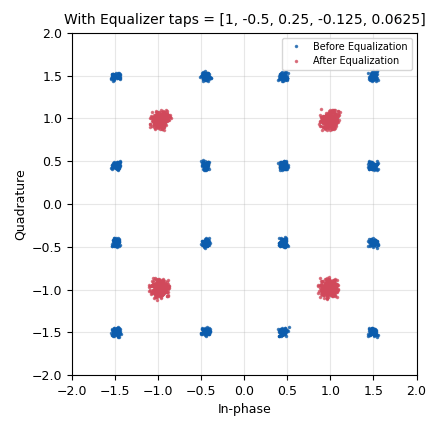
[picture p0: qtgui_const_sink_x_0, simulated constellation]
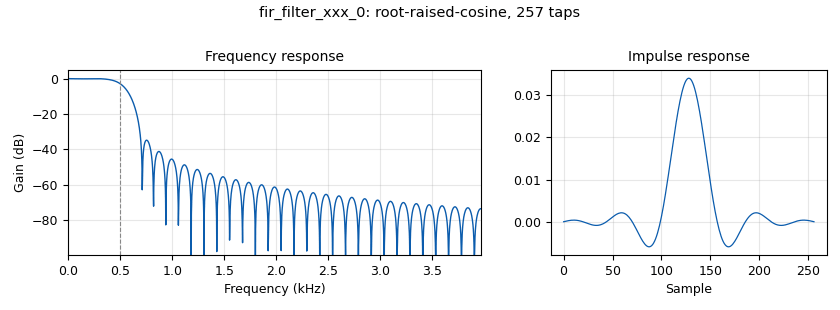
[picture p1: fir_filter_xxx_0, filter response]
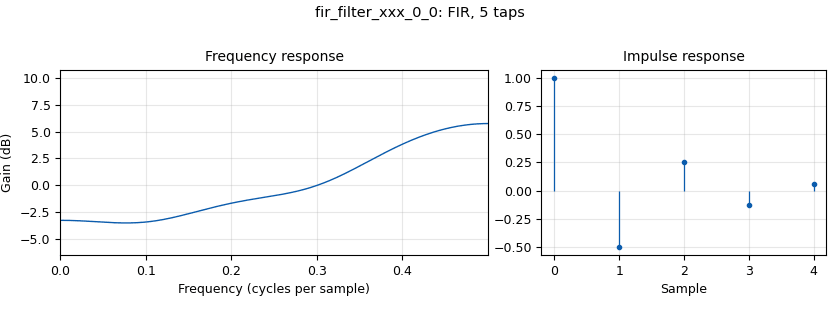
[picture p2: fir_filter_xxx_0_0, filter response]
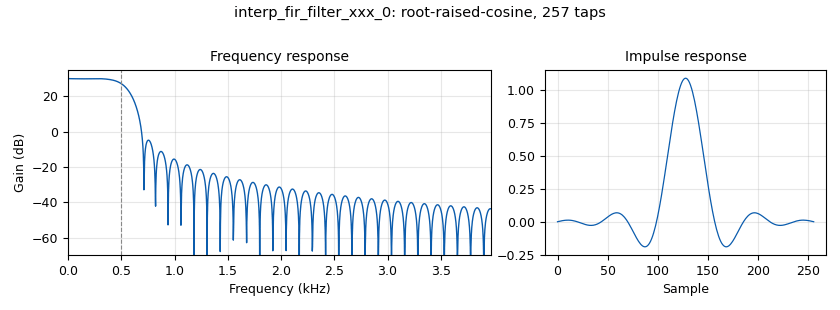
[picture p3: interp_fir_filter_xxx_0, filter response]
options:
  parameters:
    author: Dhrubjun
    generate_options: qt_gui
    id: exp1
    output_language: python
    title: Manual Channel Equalization
  states: {}

blocks:
- name: alpha
  id: variable
  parameters:
    value: '0.35'
  states: {}
- name: echo_delay
  id: variable_qtgui_range
  parameters:
    label: Echo Delay (samples)
    start: '0'
    step: '1'
    stop: '32'
    value: '32'
  states: {}
- name: echo_gain
  id: variable_qtgui_range
  parameters:
    label: Echo Gain
    start: '0'
    step: '0.05'
    stop: '1'
    value: '0.5'
  states: {}
- name: equalizer_taps
  id: variable
  parameters:
    value: '[1, -0.5, 0.25, -0.125, 0.0625]'
  states: {}
- name: ntaps
  id: variable
  parameters:
    value: span * sps + 1
  states: {}
- name: samp_rate
  id: variable
  parameters:
    value: '32000'
  states: {}
- name: span
  id: variable
  parameters:
    value: '8'
  states: {}
- name: sps
  id: variable
  parameters:
    value: int(samp_rate / symbol_rate)
  states: {}
- name: symbol_rate
  id: variable
  parameters:
    value: '1000'
  states: {}
- name: analog_random_source_x_0
  id: analog_random_source_x
  parameters:
    max: '2'
    min: '0'
    num_samps: '1000'
    repeat: 'True'
    type: byte
  states: {}
- name: analog_random_source_x_0_0
  id: analog_random_source_x
  parameters:
    max: '2'
    min: '0'
    num_samps: '1000'
    repeat: 'True'
    type: byte
  states: {}
- name: blocks_add_xx_0
  id: blocks_add_xx
  parameters:
    type: complex
  states: {}
- name: blocks_delay_0
  id: blocks_delay
  parameters:
    delay: echo_delay
    type: complex
  states: {}
- name: blocks_float_to_complex_0
  id: blocks_float_to_complex
  parameters: {}
  states: {}
- name: blocks_keep_one_in_n_0
  id: blocks_keep_one_in_n
  parameters:
    n: sps
    type: complex
  states: {}
- name: blocks_multiply_const_vxx_0
  id: blocks_multiply_const_vxx
  parameters:
    const: echo_gain
    type: complex
  states: {}
- name: blocks_throttle2_0
  id: blocks_throttle2
  parameters:
    samples_per_second: samp_rate
    type: complex
  states: {}
- name: digital_chunks_to_symbols_xx_0
  id: digital_chunks_to_symbols_xx
  parameters:
    dimension: '1'
    in_type: byte
    out_type: float
    symbol_table: '[-1,1]'
  states: {}
- name: digital_chunks_to_symbols_xx_0_0
  id: digital_chunks_to_symbols_xx
  parameters:
    dimension: '1'
    in_type: byte
    out_type: float
    symbol_table: '[-1,1]'
  states: {}
- name: fir_filter_xxx_0
  id: fir_filter_xxx
  parameters:
    decim: '1'
    taps: firdes.root_raised_cosine(1, samp_rate, symbol_rate, alpha, ntaps)
    type: ccf
  states: {}
- name: fir_filter_xxx_0_0
  id: fir_filter_xxx
  parameters:
    decim: '1'
    taps: equalizer_taps
    type: ccf
  states: {}
- name: interp_fir_filter_xxx_0
  id: interp_fir_filter_xxx
  parameters:
    interp: sps
    taps: firdes.root_raised_cosine(sps, samp_rate, symbol_rate, alpha, ntaps)
    type: ccf
  states: {}
- name: qtgui_const_sink_x_0
  id: qtgui_const_sink_x
  parameters:
    grid: 'True'
    label1: Before Equalization
    label2: After Equalization
    name: With Equalizer taps = [1, -0.5, 0.25, -0.125, 0.0625]
    nconnections: '2'
    size: '1024'
    type: complex
  states: {}

connections:
- [analog_random_source_x_0, '0', digital_chunks_to_symbols_xx_0, '0']
- [analog_random_source_x_0_0, '0', digital_chunks_to_symbols_xx_0_0, '0']
- [blocks_add_xx_0, '0', fir_filter_xxx_0, '0']
- [blocks_delay_0, '0', blocks_multiply_const_vxx_0, '0']
- [blocks_float_to_complex_0, '0', interp_fir_filter_xxx_0, '0']
- [blocks_keep_one_in_n_0, '0', fir_filter_xxx_0_0, '0']
- [blocks_keep_one_in_n_0, '0', qtgui_const_sink_x_0, '0']
- [blocks_multiply_const_vxx_0, '0', blocks_add_xx_0, '1']
- [blocks_throttle2_0, '0', blocks_add_xx_0, '0']
- [blocks_throttle2_0, '0', blocks_delay_0, '0']
- [digital_chunks_to_symbols_xx_0, '0', blocks_float_to_complex_0, '0']
- [digital_chunks_to_symbols_xx_0_0, '0', blocks_float_to_complex_0, '1']
- [fir_filter_xxx_0, '0', blocks_keep_one_in_n_0, '0']
- [fir_filter_xxx_0_0, '0', qtgui_const_sink_x_0, '1']
- [interp_fir_filter_xxx_0, '0', blocks_throttle2_0, '0']

metadata:
  file_format: 1
  grc_version: 3.10.12.0
